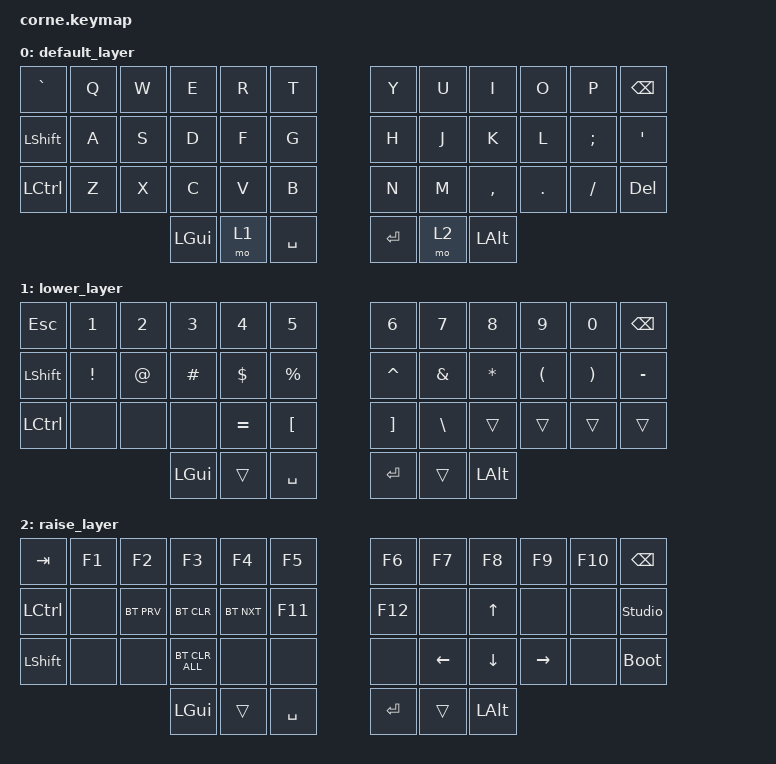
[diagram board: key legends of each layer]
/*
 * Copyright (c) 2020 The ZMK Contributors
 *
 * SPDX-License-Identifier: MIT
 */

#include <behaviors.dtsi>
#include <dt-bindings/zmk/bt.h>
#include <dt-bindings/zmk/keys.h>

/ {
    keymap {
        compatible = "zmk,keymap";

        default_layer {
            // -----------------------------------------------------------------------------------------
            // |  TAB |  Q  |  W  |  E  |  R  |  T  |   |  Y  |  U   |  I  |  O  |  P  | BSPC |
            // | CTRL |  A  |  S  |  D  |  F  |  G  |   |  H  |  J   |  K  |  L  |  ;  |  '   |
            // | SHFT |  Z  |  X  |  C  |  V  |  B  |   |  N  |  M   |  ,  |  .  |  /  | ESC  |
            //                    | GUI | LWR | SPC |   | ENT | RSE  | ALT |

            bindings = <
&kp GRAVE  &kp Q  &kp W  &kp E     &kp R  &kp T        &kp Y    &kp U  &kp I      &kp O    &kp P     &kp BSPC
&kp LSHFT  &kp A  &kp S  &kp D     &kp F  &kp G        &kp H    &kp J  &kp K      &kp L    &kp SEMI  &kp SQT
&kp LCTRL  &kp Z  &kp X  &kp C     &kp V  &kp B        &kp N    &kp M  &kp COMMA  &kp DOT  &kp FSLH  &kp DELETE
                         &kp LGUI  &mo 1  &kp SPACE    &kp RET  &mo 2  &kp LALT
            >;
        };

        lower_layer {
            // -----------------------------------------------------------------------------------------
            // |  TAB |  1  |  2  |  3  |  4  |  5  |   |  6  |  7  |  8  |  9  |  0  | BSPC |
            // | BTCLR| BT1 | BT2 | BT3 | BT4 | BT5 |   | LFT | DWN |  UP | RGT |     |      |
            // | SHFT |     |     |     |     |     |   |     |     |     |     |     |      |
            //                    | GUI |     | SPC |   | ENT |     | ALT |

            bindings = <
&kp ESCAPE  &kp N1           &kp N2       &kp N3    &kp N4      &kp N5              &kp N6             &kp N7         &kp N8        &kp N9                &kp N0                 &kp BSPC
&kp LSHIFT  &kp EXCLAMATION  &kp AT_SIGN  &kp HASH  &kp DOLLAR  &kp PERCENT         &kp CARET          &kp AMPERSAND  &kp ASTERISK  &kp LEFT_PARENTHESIS  &kp RIGHT_PARENTHESIS  &kp MINUS
&kp LCTRL   &none            &none        &none     &kp EQUAL   &kp LEFT_BRACKET    &kp RIGHT_BRACKET  &kp BACKSLASH  &trans        &trans                &trans                 &trans
                                          &kp LGUI  &trans      &kp SPACE           &kp RET            &trans         &kp LALT
            >;
        };

        raise_layer {
            // -----------------------------------------------------------------------------------------
            // |  TAB |  !  |  @  |  #  |  $  |  %  |   |  ^  |  &  |  *  |  (  |  )  | BSPC |
            // | CTRL |     |     |     |     |     |   |  -  |  =  |  [  |  ]  |  \  |  `   |
            // | SHFT |     |     |     |     |     |   |  _  |  +  |  {  |  }  | "|" |  ~   |
            //                    | GUI |     | SPC |   | ENT |     | ALT |

            bindings = <
&kp TAB    &kp F1  &kp F2      &kp F3          &kp F4      &kp F5       &kp F6   &kp F7          &kp F8          &kp F9           &kp F10  &kp BSPC
&kp LCTRL  &none   &bt BT_PRV  &bt BT_CLR      &bt BT_NXT  &kp F11      &kp F12  &none           &kp UP_ARROW    &none            &none    &studio_unlock
&kp LSHFT  &none   &none       &bt BT_CLR_ALL  &none       &none        &none    &kp LEFT_ARROW  &kp DOWN_ARROW  &kp RIGHT_ARROW  &none    &bootloader
                               &kp LGUI        &trans      &kp SPACE    &kp RET  &trans          &kp LALT
            >;
        };
    };
};
